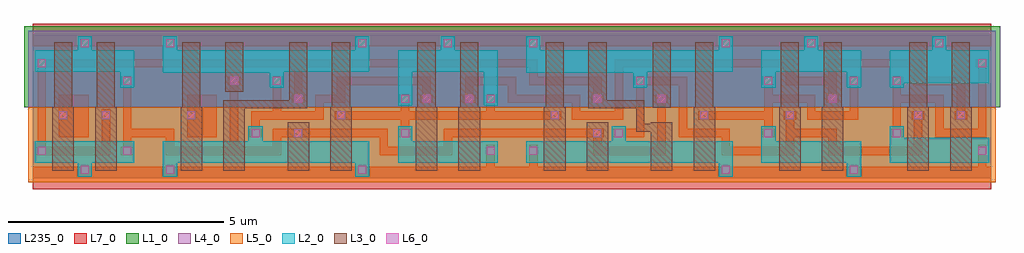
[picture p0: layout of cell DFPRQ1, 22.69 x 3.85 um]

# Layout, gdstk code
import gdstk
lib = gdstk.Library(unit=1e-6, precision=1e-09)
def R(c, l, rs):  # rectangles x0, y0, x1, y1
    for r in rs: c.add(gdstk.rectangle(r[:2], r[2:], *l))
def A(c, l, x, y, w, h, nx, ny, dx, dy):  # array of equal rectangles
    R(c, l, [(x+i*dx, y+j*dy, x+i*dx+w, y+j*dy+h) for i in range(nx) for j in range(ny)])
def P(c, l, *ps):  # polygons
    for p in ps: c.add(gdstk.Polygon(p, *l))
L1_0 = (1, 0)
L2_0 = (2, 0)
L3_0 = (3, 0)
L4_0 = (4, 0)
L5_0 = (5, 0)
L6_0 = (6, 0)
L7_0 = (7, 0)
L235_0 = (235, 0)

dfprq1 = lib.new_cell('DFPRQ1')
R(dfprq1, L1_0, [(-0.2,1.653,22.494,3.532)])
P(dfprq1, L2_0, [(1.044,0.036),(1.044,0.363),(0.05,0.363),(0.05,0.863),(2.364,0.863),(2.364,0.363),(1.37,0.363),(1.37,0.036)],
  [(3.032,0.036),(3.032,0.863),(5.02,0.863),(5.02,1.209),(5.346,1.209),(5.346,0.863),(7.831,0.863),(7.831,0.036),(7.505,0.036),(7.505,0.363),(3.358,0.363),(3.358,0.036)],
  [(8.499,0.363),(8.499,1.209),(8.825,1.209),(8.825,0.863),(10.813,0.863),(10.813,0.363)],
  [(15.954,0.036),(15.954,0.363),(11.481,0.363),(11.481,0.863),(13.469,0.863),(13.469,1.209),(13.795,1.209),(13.795,0.863),(16.28,0.863),(16.28,0.036)],
  [(18.936,0.036),(18.936,0.363),(16.948,0.363),(16.948,1.209),(17.274,1.209),(17.274,0.863),(19.262,0.863),(19.262,0.036)],
  [(19.93,0.363),(19.93,1.209),(20.256,1.209),(20.256,0.943),(22.244,0.943),(22.244,0.363)],
  [(2.038,2.097),(2.038,2.469),(0.05,2.469),(0.05,2.969),(1.044,2.969),(1.044,3.296),(1.37,3.296),(1.37,2.969),(2.364,2.969),(2.364,2.097)],
  [(5.517,2.097),(5.517,2.449),(3.032,2.449),(3.032,3.296),(3.358,3.296),(3.358,2.969),(7.505,2.969),(7.505,3.296),(7.831,3.296),(7.831,2.469),(5.843,2.469),(5.843,2.097)],
  [(8.499,1.684),(8.499,2.969),(9.493,2.969),(9.493,3.296),(9.819,3.296),(9.819,2.969),(10.813,2.969),(10.813,1.684),(10.487,1.684),(10.487,2.469),(8.825,2.469),(8.825,1.684)],
  [(13.966,2.097),(13.966,2.449),(11.481,2.449),(11.481,3.296),(11.807,3.296),(11.807,2.969),(15.954,2.969),(15.954,3.296),(16.28,3.296),(16.28,2.469),(14.292,2.469),(14.292,2.097)],
  [(16.948,2.097),(16.948,2.969),(17.942,2.969),(17.942,3.296),(18.268,3.296),(18.268,2.969),(19.262,2.969),(19.262,2.097),(18.936,2.097),(18.936,2.469),(17.274,2.469),(17.274,2.097)],
  [(19.93,2.097),(19.93,2.969),(20.924,2.969),(20.924,3.296),(21.25,3.296),(21.25,2.969),(22.244,2.969),(22.244,2.209),(20.256,2.209),(20.256,2.097)])
R(dfprq1, L3_0, [(5.927,0.177,6.427,1.296), (12.885,0.177,13.385,1.296), (14.416,1.637,14.836,3.155), (4.476,2.01,4.896,3.155)])
P(dfprq1, L3_0, [(0.46,0.177),(0.46,1.653),(0.5,1.653),(0.5,3.155),(0.92,3.155),(0.92,1.653),(0.96,1.653),(0.96,0.177)],
  [(1.454,0.177),(1.454,1.653),(1.494,1.653),(1.494,3.155),(1.914,3.155),(1.914,1.653),(1.954,1.653),(1.954,0.177)],
  [(3.442,0.177),(3.442,1.653),(3.482,1.653),(3.482,3.155),(3.902,3.155),(3.902,1.653),(3.942,1.653),(3.942,0.177)],
  [(4.436,0.177),(4.436,1.809),(5.967,1.809),(5.967,3.155),(6.387,3.155),(6.387,1.629),(4.936,1.629),(4.936,0.177)],
  [(6.921,0.177),(6.921,1.653),(6.961,1.653),(6.961,3.155),(7.381,3.155),(7.381,1.653),(7.421,1.653),(7.421,0.177)],
  [(8.909,0.177),(8.909,1.653),(8.949,1.653),(8.949,3.155),(9.369,3.155),(9.369,1.653),(9.409,1.653),(9.409,0.177)],
  [(9.903,0.177),(9.903,1.653),(9.943,1.653),(9.943,3.155),(10.363,3.155),(10.363,1.653),(10.403,1.653),(10.403,0.177)],
  [(11.891,0.177),(11.891,1.653),(11.931,1.653),(11.931,3.155),(12.351,3.155),(12.351,1.653),(12.391,1.653),(12.391,0.177)],
  [(14.376,0.177),(14.376,1.084),(14.039,1.084),(14.039,1.629),(12.925,1.629),(12.925,3.155),(13.345,3.155),(13.345,1.809),(14.219,1.809),(14.219,1.264),(14.376,1.264),(14.376,1.296),(14.876,1.296),(14.876,0.177)],
  [(15.37,0.177),(15.37,1.653),(15.41,1.653),(15.41,3.155),(15.83,3.155),(15.83,1.653),(15.87,1.653),(15.87,0.177)],
  [(17.358,0.177),(17.358,1.653),(17.398,1.653),(17.398,3.155),(17.818,3.155),(17.818,1.653),(17.858,1.653),(17.858,0.177)],
  [(18.352,0.177),(18.352,1.653),(18.392,1.653),(18.392,3.155),(18.812,3.155),(18.812,1.653),(18.852,1.653),(18.852,0.177)],
  [(20.34,0.177),(20.34,1.653),(20.38,1.653),(20.38,3.155),(20.8,3.155),(20.8,1.653),(20.84,1.653),(20.84,0.177)],
  [(21.334,0.177),(21.334,1.653),(21.374,1.653),(21.374,3.155),(21.794,3.155),(21.794,1.653),(21.834,1.653),(21.834,0.177)])
R(dfprq1, L4_0, [(-0.1,1.653,22.394,3.432)])
R(dfprq1, L5_0, [(-0.1,-0.1,22.394,1.653)])
A(dfprq1, L6_0, 7.575, 3.04, 0.186, 0.186, 3, 1, 1.988, 0)
R(dfprq1, L6_0, [(1.114,0.106,1.3,0.292), (3.102,0.106,3.288,0.292), (7.575,0.106,7.761,0.292), (16.024,0.106,16.21,0.292), (19.006,0.106,19.192,0.292), (0.12,0.54,0.306,0.726), (2.108,0.54,2.294,0.726), (10.557,0.54,10.743,0.726), (11.551,0.54,11.737,0.726), (21.988,0.54,22.174,0.726), (5.09,0.953,5.276,1.139), (6.084,0.953,6.27,1.139), (8.569,0.953,8.755,1.139), (13.042,0.953,13.228,1.139), (13.539,0.953,13.725,1.139), (17.018,0.953,17.204,1.139), (20,0.953,20.186,1.139), (0.617,1.366,0.803,1.552), (1.611,1.366,1.797,1.552), (3.599,1.366,3.785,1.552), (7.078,1.366,7.264,1.552), (12.048,1.366,12.234,1.552), (15.527,1.366,15.713,1.552), (17.515,1.366,17.701,1.552), (20.497,1.366,20.683,1.552), (21.491,1.366,21.677,1.552), (6.084,1.754,6.27,1.94), (8.569,1.754,8.755,1.94), (9.066,1.754,9.252,1.94), (10.06,1.754,10.246,1.94), (10.557,1.754,10.743,1.94), (13.042,1.754,13.228,1.94), (14.533,1.754,14.719,1.94), (18.509,1.754,18.695,1.94), (2.108,2.167,2.294,2.353), (4.593,2.167,4.779,2.353), (5.587,2.167,5.773,2.353), (14.036,2.167,14.222,2.353), (17.018,2.167,17.204,2.353), (19.006,2.167,19.192,2.353), (20,2.167,20.186,2.353), (0.12,2.58,0.306,2.766), (21.988,2.58,22.174,2.766), (1.114,3.04,1.3,3.226), (3.102,3.04,3.288,3.226), (16.024,3.04,16.21,3.226), (18.012,3.04,18.198,3.226), (20.994,3.04,21.18,3.226)])
R(dfprq1, L7_0, [(0.613,0.949,1.304,1.944), (3.595,0.949,4.286,1.944)])
P(dfprq1, L7_0, [(0,-0.26),(0,0.26),(1.11,0.26),(1.11,0.296),(1.304,0.296),(1.304,0.26),(3.098,0.26),(3.098,0.296),(3.292,0.296),(3.292,0.26),(7.571,0.26),(7.571,0.296),(7.765,0.296),(7.765,0.26),(10.553,0.26),(10.553,0.776),(10.747,0.776),(10.747,0.26),(11.547,0.26),(11.547,0.776),(11.741,0.776),(11.741,0.26),(16.02,0.26),(16.02,0.296),(16.214,0.296),(16.214,0.26),(19.002,0.26),(19.002,0.296),(19.196,0.296),(19.196,0.26),(21.984,0.26),(21.984,0.776),(22.178,0.776),(22.178,0.26),(22.294,0.26),(22.294,-0.26)],
  [(8.515,0.949),(8.515,1.143),(8.565,1.143),(8.565,1.362),(7.024,1.362),(7.024,1.556),(8.565,1.556),(8.565,1.75),(8.515,1.75),(8.515,1.944),(8.809,1.944),(8.809,1.75),(8.759,1.75),(8.759,1.556),(10.553,1.556),(10.553,1.75),(10.503,1.75),(10.503,1.944),(10.797,1.944),(10.797,1.75),(10.747,1.75),(10.747,1.556),(12.288,1.556),(12.288,1.362),(8.759,1.362),(8.759,1.143),(8.809,1.143),(8.809,0.949)],
  [(2.054,0.536),(2.054,0.73),(2.104,0.73),(2.104,2.163),(2.054,2.163),(2.054,2.357),(2.348,2.357),(2.348,2.163),(2.298,2.163),(2.298,1.143),(3.292,1.143),(3.292,0.73),(4.589,0.73),(4.589,2.163),(4.539,2.163),(4.539,2.357),(4.833,2.357),(4.833,2.163),(4.783,2.163),(4.783,0.73),(5.583,0.73),(5.583,1.143),(8.262,1.143),(8.262,0.73),(9.559,0.73),(9.559,1.143),(13.282,1.143),(13.282,0.949),(13.232,0.949),(13.232,0.73),(14.529,0.73),(14.529,1.75),(14.479,1.75),(14.479,1.944),(14.773,1.944),(14.773,1.75),(14.723,1.75),(14.723,0.536),(13.038,0.536),(13.038,0.949),(9.753,0.949),(9.753,0.536),(8.068,0.536),(8.068,0.949),(5.777,0.949),(5.777,0.536),(3.098,0.536),(3.098,0.949),(2.298,0.949),(2.298,0.73),(2.348,0.73),(2.348,0.536)],
  [(5.036,0.949),(5.036,1.143),(5.086,1.143),(5.086,1.556),(5.583,1.556),(5.583,2.163),(5.533,2.163),(5.533,2.357),(5.827,2.357),(5.827,2.163),(5.777,2.163),(5.777,1.556),(6.577,1.556),(6.577,1.944),(7.074,1.944),(7.074,2.357),(9.256,2.357),(9.256,1.944),(9.306,1.944),(9.306,1.75),(9.012,1.75),(9.012,1.944),(9.062,1.944),(9.062,2.163),(7.268,2.163),(7.268,1.75),(6.771,1.75),(6.771,1.362),(5.28,1.362),(5.28,1.143),(5.33,1.143),(5.33,0.949)],
  [(16.02,0.536),(16.02,0.949),(15.026,0.949),(15.026,2.163),(14.226,2.163),(14.226,0.949),(13.485,0.949),(13.485,1.143),(14.032,1.143),(14.032,2.163),(13.982,2.163),(13.982,2.357),(15.22,2.357),(15.22,1.143),(16.214,1.143),(16.214,0.73),(17.511,0.73),(17.511,1.362),(17.461,1.362),(17.461,1.556),(17.755,1.556),(17.755,1.362),(17.705,1.362),(17.705,1.143),(18.699,1.143),(18.699,0.73),(20.493,0.73),(20.493,1.362),(20.443,1.362),(20.443,1.556),(20.737,1.556),(20.737,1.362),(20.687,1.362),(20.687,0.536),(18.505,0.536),(18.505,0.949),(17.705,0.949),(17.705,0.536)],
  [(16.964,0.949),(16.964,1.143),(17.014,1.143),(17.014,1.362),(15.473,1.362),(15.473,1.556),(17.014,1.556),(17.014,2.163),(16.964,2.163),(16.964,2.357),(17.258,2.357),(17.258,2.163),(17.208,2.163),(17.208,1.944),(18.202,1.944),(18.202,1.556),(19.002,1.556),(19.002,2.163),(18.952,2.163),(18.952,2.357),(19.246,2.357),(19.246,2.163),(19.196,2.163),(19.196,1.362),(18.008,1.362),(18.008,1.75),(17.208,1.75),(17.208,1.143),(17.258,1.143),(17.258,0.949)],
  [(0.066,0.536),(0.066,0.73),(0.116,0.73),(0.116,2.576),(0.066,2.576),(0.066,2.77),(11.741,2.77),(11.741,2.357),(13.232,2.357),(13.232,1.944),(13.282,1.944),(13.282,1.75),(12.988,1.75),(12.988,1.944),(13.038,1.944),(13.038,2.163),(11.547,2.163),(11.547,2.576),(6.274,2.576),(6.274,1.944),(6.324,1.944),(6.324,1.75),(6.03,1.75),(6.03,1.944),(6.08,1.944),(6.08,2.576),(0.31,2.576),(0.31,0.73),(1.607,0.73),(1.607,1.606),(1.801,1.606),(1.801,0.536)],
  [(12.541,1.362),(12.541,1.75),(11.05,1.75),(11.05,2.163),(10.25,2.163),(10.25,1.944),(10.3,1.944),(10.3,1.75),(10.006,1.75),(10.006,1.944),(10.056,1.944),(10.056,2.357),(11.244,2.357),(11.244,1.944),(12.735,1.944),(12.735,1.556),(13.535,1.556),(13.535,2.77),(17.705,2.77),(17.705,2.357),(18.505,2.357),(18.505,2.77),(20.687,2.77),(20.687,2.357),(21.681,2.357),(21.681,1.556),(21.731,1.556),(21.731,1.362),(21.437,1.362),(21.437,1.556),(21.487,1.556),(21.487,2.163),(20.493,2.163),(20.493,2.576),(18.699,2.576),(18.699,1.944),(18.749,1.944),(18.749,1.75),(18.455,1.75),(18.455,1.944),(18.505,1.944),(18.505,2.163),(17.511,2.163),(17.511,2.576),(13.729,2.576),(13.729,1.362)],
  [(19.946,0.949),(19.946,1.143),(19.996,1.143),(19.996,2.163),(19.946,2.163),(19.946,2.357),(20.24,2.357),(20.24,2.163),(20.19,2.163),(20.19,1.944),(21.184,1.944),(21.184,1.143),(21.984,1.143),(21.984,2.576),(21.934,2.576),(21.934,2.77),(22.228,2.77),(22.228,2.576),(22.178,2.576),(22.178,0.949),(20.99,0.949),(20.99,1.75),(20.19,1.75),(20.19,1.143),(20.24,1.143),(20.24,0.949)],
  [(1.11,3.036),(1.11,3.072),(0,3.072),(0,3.592),(22.294,3.592),(22.294,3.072),(21.184,3.072),(21.184,3.036),(20.99,3.036),(20.99,3.072),(18.202,3.072),(18.202,3.036),(18.008,3.036),(18.008,3.072),(16.214,3.072),(16.214,3.036),(16.02,3.036),(16.02,3.072),(11.741,3.072),(11.741,3.036),(11.547,3.036),(11.547,3.072),(9.753,3.072),(9.753,3.036),(9.559,3.036),(9.559,3.072),(7.765,3.072),(7.765,3.036),(7.571,3.036),(7.571,3.072),(3.292,3.072),(3.292,3.036),(3.098,3.036),(3.098,3.072),(1.304,3.072),(1.304,3.036)])
R(dfprq1, L235_0, [(0,0,22.294,3.332)])

lib.write_gds('DFPRQ1.gds')
